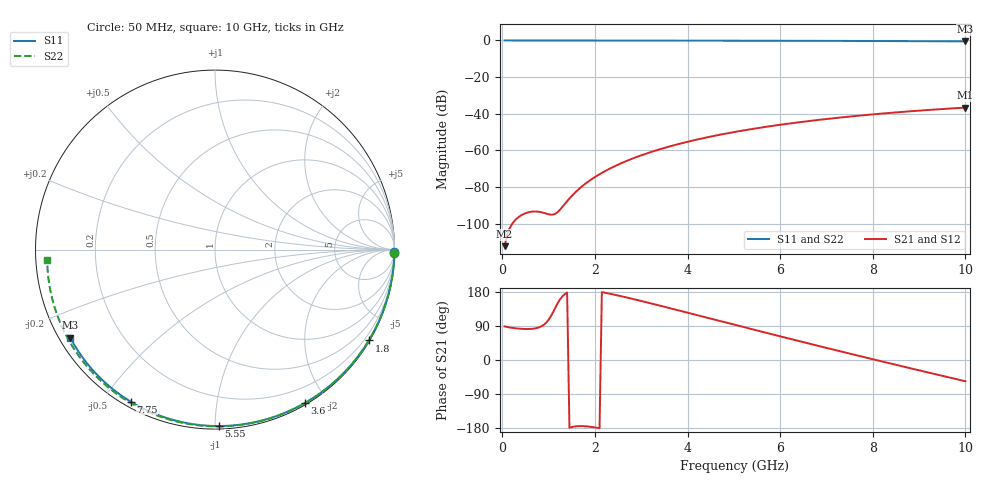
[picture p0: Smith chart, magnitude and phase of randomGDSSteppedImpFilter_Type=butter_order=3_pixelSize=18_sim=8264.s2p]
! freq	dB(S11)	phase(S11)	dB(S12)	phase(S12)
!  dB(S21)	phase(S21)	dB(S22)	phase(S22)
!S-par simulation data
#  GHz  S  DB  R 50
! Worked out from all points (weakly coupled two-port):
!   200 points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, 50 MHz to 10 GHz, reference 50 ohm
!   highest |S21| = -36.63 dB at 10 GHz (marker M1); lowest = -112.2 dB at 50 MHz (marker M2)
!   lowest |S11| = -0.5 dB at 10 GHz (marker M3), VSWR 34.58, Z = 1.56 - j14 ohm
!   |S11| at or under -10 dB: nowhere
!   |S22| runs from -0.6 to 0.0 dB; largest |S21 - S12| = 0
!   S11 on the Smith chart (normalised r, x): 50 MHz: open; 1.8 GHz: 0.03, -3.66; 3.6 GHz: 0.02, -1.75; 5.55 GHz: 0.02, -1.02; 7.75 GHz: 0.02, -0.59; 10 GHz: 0.03, -0.28
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0.05  -0.00 -0.9  -112.22 88.6  -112.22 88.6  -0.00 -1.0
0.45  -0.01 -7.8  -94.82 82.0  -94.82 82.0  -0.01 -9.3
0.85  -0.02 -14.6  -93.73 89.3  -93.73 89.3  -0.02 -17.5
1.25  -0.03 -21.4  -92.21 160.6  -92.21 160.6  -0.03 -25.6
1.7  -0.04 -28.9  -80.06 -174.4  -80.06 -174.4  -0.04 -34.6
1.75  -0.04 -29.7  -79.02 -174.6  -79.02 -174.6  -0.05 -35.6
1.8  -0.04 -30.6  -78.04 -174.9  -78.04 -174.9  -0.05 -36.6
2.1  -0.05 -35.5  -72.97 -179.8  -72.97 -179.8  -0.05 -42.5
2.3  -0.05 -38.8  -70.19 175.5  -70.19 175.5  -0.06 -46.4
2.5  -0.05 -42.1  -67.74 170.2  -67.74 170.2  -0.06 -50.2
2.9  -0.06 -48.5  -63.59 158.8  -63.59 158.8  -0.07 -57.9
3.4  -0.08 -56.5  -59.37 143.6  -59.37 143.6  -0.09 -67.2
3.6  -0.08 -59.6  -57.91 137.4  -57.91 137.4  -0.09 -70.9
4.3  -0.10 -70.3  -53.53 115.5  -53.53 115.5  -0.12 -83.4
5.05  -0.13 -81.5  -49.78 92.0  -49.78 92.0  -0.15 -96.4
5.55  -0.15 -88.7  -47.68 76.4  -47.68 76.4  -0.17 -104.8
6.1  -0.17 -96.5  -45.65 59.4  -45.65 59.4  -0.20 -113.8
6.7  -0.20 -104.8  -43.72 41.0  -43.72 41.0  -0.24 -123.5
7.75  -0.28 -119.0  -40.91 9.4  -40.91 9.4  -0.32 -140.2
8.35  -0.33 -127.0  -39.56 -8.3  -39.56 -8.3  -0.38 -149.7
9.2  -0.41 -138.2  -37.92 -33.1  -37.92 -33.1  -0.47 -163.3
10  -0.50 -148.7  -36.63 -56.1  -36.63 -56.1  -0.57 -176.5
